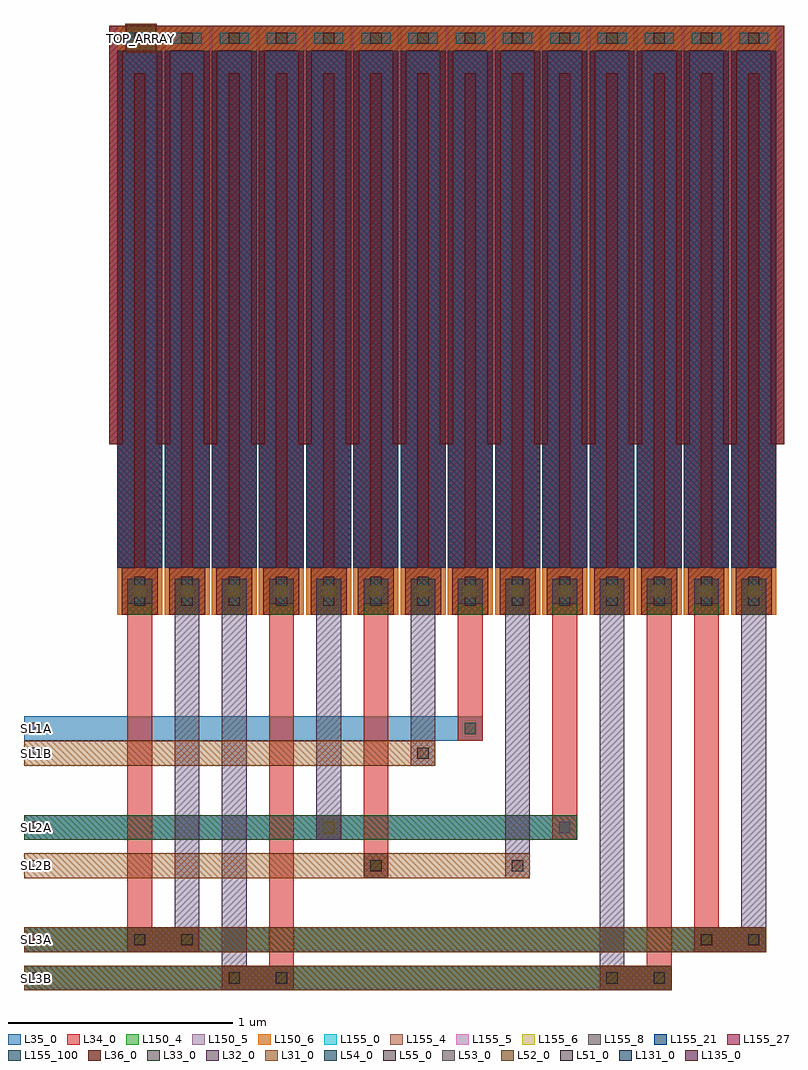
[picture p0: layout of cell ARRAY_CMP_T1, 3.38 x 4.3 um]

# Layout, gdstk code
from math import pi, radians
import gdstk
lib = gdstk.Library(unit=1e-6, precision=1e-09)
def R(c, l, rs):  # rectangles x0, y0, x1, y1
    for r in rs: c.add(gdstk.rectangle(r[:2], r[2:], *l))
def A(c, l, x, y, w, h, nx, ny, dx, dy):  # array of equal rectangles
    R(c, l, [(x+i*dx, y+j*dy, x+i*dx+w, y+j*dy+h) for i in range(nx) for j in range(ny)])
L31_0 = (31, 0)
L32_0 = (32, 0)
L33_0 = (33, 0)
L34_0 = (34, 0)
L35_0 = (35, 0)
L36_0 = (36, 0)
L51_0 = (51, 0)
L52_0 = (52, 0)
L53_0 = (53, 0)
L54_0 = (54, 0)
L55_0 = (55, 0)
L131_0 = (131, 0)
L135_0 = (135, 0)
L150_4 = (150, 4)
L150_5 = (150, 5)
L150_6 = (150, 6)
L155_0 = (155, 0)
L155_4 = (155, 4)
L155_5 = (155, 5)
L155_6 = (155, 6)
L155_8 = (155, 8)
L155_21 = (155, 21)
L155_27 = (155, 27)
L155_100 = (155, 100)

m5_m4_cdns_619496370347 = lib.new_cell('M5_M4_CDNS_619496370347')
R(m5_m4_cdns_619496370347, L34_0, [(-0.07,-0.105,0.07,0.105)])
R(m5_m4_cdns_619496370347, L35_0, [(-0.07,-0.105,0.07,0.105)])
R(m5_m4_cdns_619496370347, L54_0, [(-0.025,-0.065,0.025,0.065)])

m6_m5_cdns_619496370348 = lib.new_cell('M6_M5_CDNS_619496370348')
R(m6_m5_cdns_619496370348, L35_0, [(-0.07,-0.105,0.07,0.105)])
R(m6_m5_cdns_619496370348, L36_0, [(-0.055,-0.105,0.055,0.105)])
R(m6_m5_cdns_619496370348, L55_0, [(-0.025,-0.065,0.025,0.065)])

m5_m4_cdns_619496370349 = lib.new_cell('M5_M4_CDNS_619496370349')
R(m5_m4_cdns_619496370349, L34_0, [(-0.095,-0.055,0.095,0.055)])
R(m5_m4_cdns_619496370349, L35_0, [(-0.12,-0.055,0.12,0.055)])
R(m5_m4_cdns_619496370349, L54_0, [(-0.065,-0.025,0.065,0.025)])

m6_m5_cdns_6194963703410 = lib.new_cell('M6_M5_CDNS_6194963703410')
R(m6_m5_cdns_6194963703410, L35_0, [(-0.055,-0.055,0.055,0.055)])
R(m6_m5_cdns_6194963703410, L36_0, [(-0.055,-0.055,0.055,0.055)])
R(m6_m5_cdns_6194963703410, L55_0, [(-0.025,-0.025,0.025,0.025)])

cu1f = lib.new_cell('CU1F')
R(cu1f, L34_0, [(0.02,0,0.18,0.21), (-0.035,2.51,0.235,2.62)])
R(cu1f, L35_0, [(0.02,0,0.18,0.21), (-0.035,2.51,0.235,2.62)])
R(cu1f, L36_0, [(0.02,0,0.18,0.21), (-0.035,2.51,0.235,2.62)])
R(cu1f, L150_4, [(0,0,0.2,2.62)])
R(cu1f, L150_5, [(0,0,0.2,2.62)])
R(cu1f, L150_6, [(0,0,0.2,2.62)])
R(cu1f, L155_0, [(0,0.21,0.2,2.51)])
R(cu1f, L155_4, [(0,0.21,0.2,2.51)])
R(cu1f, L155_5, [(0,0.21,0.2,2.51)])
R(cu1f, L155_6, [(0,0.21,0.2,2.51)])
R(cu1f, L155_8, [(0,0.21,0.2,2.51)])
R(cu1f, L155_21, [(0,0.21,0.2,2.51)])
R(cu1f, L155_27, [(0,0.21,0.2,2.51)])
R(cu1f, L155_100, [(0,0.21,0.2,2.51)])
cu1f.add(gdstk.FlexPath([(0.205,2.59),(0.205,0.76)], 0.06, ends=(0.03, 0), simple_path=True, layer=34, datatype=0))  # L34_0
cu1f.add(gdstk.FlexPath([(0.1,2.41),(0.1,0)], 0.05, ends="flush", simple_path=True, layer=34, datatype=0))  # L34_0
cu1f.add(gdstk.FlexPath([(-0.005,2.59),(-0.005,0.76)], 0.06, ends=(0.03, 0), simple_path=True, layer=34, datatype=0))  # L34_0
cu1f.add(gdstk.FlexPath([(0.205,0.76),(0.205,2.59)], 0.06, ends=(0, 0.03), simple_path=True, layer=35, datatype=0))  # L35_0
cu1f.add(gdstk.FlexPath([(0.1,2.41),(0.1,0)], 0.05, ends="flush", simple_path=True, layer=35, datatype=0))  # L35_0
cu1f.add(gdstk.FlexPath([(-0.005,0.76),(-0.005,2.59)], 0.06, ends=(0, 0.03), simple_path=True, layer=35, datatype=0))  # L35_0
cu1f.add(gdstk.FlexPath([(0.205,0.76),(0.205,2.59)], 0.06, ends=(0, 0.03), simple_path=True, layer=36, datatype=0))  # L36_0
cu1f.add(gdstk.FlexPath([(0.1,2.41),(0.1,0)], 0.05, ends="flush", simple_path=True, layer=36, datatype=0))  # L36_0
cu1f.add(gdstk.FlexPath([(-0.005,0.76),(-0.005,2.59)], 0.06, ends=(0, 0.03), simple_path=True, layer=36, datatype=0))  # L36_0
cu1f.add(gdstk.Reference(m5_m4_cdns_619496370347, (0.1,0.105), rotation=pi, x_reflection=True))
cu1f.add(gdstk.Reference(m6_m5_cdns_619496370348, (0.1,0.105), rotation=pi, x_reflection=True))
cu1f.add(gdstk.Reference(m5_m4_cdns_619496370349, (0.1,2.565)))
cu1f.add(gdstk.Reference(m6_m5_cdns_6194963703410, (0.1,2.565)))

m2_m1_cdns_619496370340 = lib.new_cell('M2_M1_CDNS_619496370340')
R(m2_m1_cdns_619496370340, L31_0, [(-0.055,-0.055,0.055,0.055)])
R(m2_m1_cdns_619496370340, L32_0, [(-0.055,-0.055,0.055,0.055)])
R(m2_m1_cdns_619496370340, L51_0, [(-0.025,-0.025,0.025,0.025)])

m3_m2_cdns_619496370341 = lib.new_cell('M3_M2_CDNS_619496370341')
R(m3_m2_cdns_619496370341, L32_0, [(-0.055,-0.055,0.055,0.055)])
R(m3_m2_cdns_619496370341, L33_0, [(-0.055,-0.055,0.055,0.055)])
R(m3_m2_cdns_619496370341, L52_0, [(-0.025,-0.025,0.025,0.025)])

m4_m3_cdns_619496370342 = lib.new_cell('M4_M3_CDNS_619496370342')
R(m4_m3_cdns_619496370342, L33_0, [(-0.055,-0.055,0.055,0.055)])
R(m4_m3_cdns_619496370342, L34_0, [(-0.055,-0.055,0.055,0.055)])
R(m4_m3_cdns_619496370342, L53_0, [(-0.025,-0.025,0.025,0.025)])

m4_m3_cdns_619496370343 = lib.new_cell('M4_M3_CDNS_619496370343')
R(m4_m3_cdns_619496370343, L33_0, [(-0.07,-0.065,0.07,0.065)])
R(m4_m3_cdns_619496370343, L34_0, [(-0.055,-0.055,0.055,0.055)])
R(m4_m3_cdns_619496370343, L53_0, [(-0.025,-0.025,0.025,0.025)])

m3_m2_cdns_619496370344 = lib.new_cell('M3_M2_CDNS_619496370344')
R(m3_m2_cdns_619496370344, L32_0, [(-0.065,-0.06,0.065,0.06)])
R(m3_m2_cdns_619496370344, L33_0, [(-0.07,-0.065,0.07,0.065)])
R(m3_m2_cdns_619496370344, L52_0, [(-0.025,-0.025,0.025,0.025)])

m2_m1_cdns_619496370345 = lib.new_cell('M2_M1_CDNS_619496370345')
R(m2_m1_cdns_619496370345, L31_0, [(-0.055,-0.055,0.055,0.055)])
R(m2_m1_cdns_619496370345, L32_0, [(-0.065,-0.06,0.065,0.06)])
R(m2_m1_cdns_619496370345, L51_0, [(-0.025,-0.025,0.025,0.025)])

m5_m4_cdns_619496370346 = lib.new_cell('M5_M4_CDNS_619496370346')
R(m5_m4_cdns_619496370346, L34_0, [(-0.055,-0.055,0.055,0.055)])
R(m5_m4_cdns_619496370346, L35_0, [(-0.055,-0.055,0.055,0.055)])
R(m5_m4_cdns_619496370346, L54_0, [(-0.025,-0.025,0.025,0.025)])

array_cmp_t1 = lib.new_cell('ARRAY_CMP_T1')
R(array_cmp_t1, L31_0, [(-0.415,-1.67,2.465,-1.56), (-0.415,-1.5,2.885,-1.39), (-0.415,-1.17,1.835,-1.06), (-0.415,-0.67,1.415,-0.56), (0.035,2.5,0.175,2.63)])
R(array_cmp_t1, L32_0, [(0.465,-1.67,0.575,0.16), (0.465,-1.67,0.785,-1.56), (2.145,-1.67,2.255,0.16), (2.145,-1.67,2.465,-1.56), (0.045,-1.5,0.365,-1.39), (0.255,-1.5,0.365,0.16), (2.565,-1.5,2.885,-1.39), (2.775,-1.5,2.885,0.16), (1.725,-1.17,1.835,0.16), (0.885,-1,0.995,0.16), (1.305,-0.67,1.415,0.16)])
A(array_cmp_t1, L33_0, 0.045, 0, 0.11, 0.16, 14, 1, 0.21, 0)
R(array_cmp_t1, L33_0, [(-0.415,-1.67,2.465,-1.56), (-0.415,-1.5,2.885,-1.39), (-0.415,-1,2.045,-0.89)])
R(array_cmp_t1, L34_0, [(0.465,-1.67,0.785,-1.56), (0.675,-1.67,0.785,0.16), (2.145,-1.67,2.465,-1.56), (2.355,-1.67,2.465,0.16), (0.045,-1.5,0.155,0.16), (0.045,-1.5,0.365,-1.39), (2.565,-1.5,2.675,0.16), (2.565,-1.5,2.885,-1.39), (1.095,-1.17,1.205,0.16), (1.935,-1,2.045,0.16), (1.515,-0.56,1.625,0.16)])
R(array_cmp_t1, L35_0, [(-0.415,-1.67,2.465,-1.56), (-0.415,-1.5,2.885,-1.39), (-0.415,-1,2.045,-0.89), (-0.415,-0.56,1.625,-0.45)])
A(array_cmp_t1, L131_0, -0.385, -1.64, 0.05, 0.05, 1, 3, 0, 0.5)
R(array_cmp_t1, L131_0, [(0.08,2.54,0.13,2.59)])
R(array_cmp_t1, L135_0, [(-0.385,-1.47,-0.335,-1.42), (-0.385,-0.97,-0.335,-0.92), (-0.385,-0.53,-0.335,-0.48)])
array_cmp_t1.add(gdstk.Reference(cu1f, (2.73,0)))
array_cmp_t1.add(gdstk.Reference(cu1f, (2.52,0)))
array_cmp_t1.add(gdstk.Reference(cu1f, (2.31,0)))
array_cmp_t1.add(gdstk.Reference(cu1f, (2.1,0)))
array_cmp_t1.add(gdstk.Reference(cu1f, (1.89,0)))
array_cmp_t1.add(gdstk.Reference(cu1f, (1.68,0)))
array_cmp_t1.add(gdstk.Reference(cu1f, (1.47,0)))
array_cmp_t1.add(gdstk.Reference(cu1f, (1.26,0)))
array_cmp_t1.add(gdstk.Reference(cu1f, (1.05,0)))
array_cmp_t1.add(gdstk.Reference(cu1f, (0.84,0)))
array_cmp_t1.add(gdstk.Reference(cu1f, (0.63,0)))
array_cmp_t1.add(gdstk.Reference(cu1f, (0.42,0)))
array_cmp_t1.add(gdstk.Reference(cu1f, (0.21,0)))
array_cmp_t1.add(gdstk.Reference(cu1f, (0,0)))
array_cmp_t1.add(gdstk.Reference(m2_m1_cdns_619496370340, (2.83,-1.445)))
array_cmp_t1.add(gdstk.Reference(m2_m1_cdns_619496370340, (2.41,-1.615)))
array_cmp_t1.add(gdstk.Reference(m2_m1_cdns_619496370340, (0.73,-1.615)))
array_cmp_t1.add(gdstk.Reference(m2_m1_cdns_619496370340, (0.31,-1.445)))
array_cmp_t1.add(gdstk.Reference(m2_m1_cdns_619496370340, (0.1,-1.445)))
array_cmp_t1.add(gdstk.Reference(m2_m1_cdns_619496370340, (2.2,-1.615)))
array_cmp_t1.add(gdstk.Reference(m2_m1_cdns_619496370340, (0.52,-1.615)))
array_cmp_t1.add(gdstk.Reference(m2_m1_cdns_619496370340, (1.36,-0.615)))
array_cmp_t1.add(gdstk.Reference(m2_m1_cdns_619496370340, (1.15,-1.115)))
array_cmp_t1.add(gdstk.Reference(m2_m1_cdns_619496370340, (1.78,-1.115)))
array_cmp_t1.add(gdstk.Reference(m2_m1_cdns_619496370340, (2.62,-1.445)))
array_cmp_t1.add(gdstk.Reference(m3_m2_cdns_619496370341, (0.94,-0.945)))
array_cmp_t1.add(gdstk.Reference(m3_m2_cdns_619496370341, (2.83,-1.445)))
array_cmp_t1.add(gdstk.Reference(m3_m2_cdns_619496370341, (0.73,-1.615)))
array_cmp_t1.add(gdstk.Reference(m3_m2_cdns_619496370341, (0.31,-1.445)))
array_cmp_t1.add(gdstk.Reference(m3_m2_cdns_619496370341, (0.1,-1.445)))
array_cmp_t1.add(gdstk.Reference(m3_m2_cdns_619496370341, (2.41,-1.615)))
array_cmp_t1.add(gdstk.Reference(m3_m2_cdns_619496370341, (2.2,-1.615)))
array_cmp_t1.add(gdstk.Reference(m3_m2_cdns_619496370341, (0.1,0.105)))
array_cmp_t1.add(gdstk.Reference(m3_m2_cdns_619496370341, (0.31,0.105)))
array_cmp_t1.add(gdstk.Reference(m3_m2_cdns_619496370341, (0.52,0.105)))
array_cmp_t1.add(gdstk.Reference(m3_m2_cdns_619496370341, (0.73,0.105)))
array_cmp_t1.add(gdstk.Reference(m3_m2_cdns_619496370341, (0.94,0.105)))
array_cmp_t1.add(gdstk.Reference(m3_m2_cdns_619496370341, (1.15,0.105)))
array_cmp_t1.add(gdstk.Reference(m3_m2_cdns_619496370341, (1.36,0.105)))
array_cmp_t1.add(gdstk.Reference(m3_m2_cdns_619496370341, (1.57,0.105)))
array_cmp_t1.add(gdstk.Reference(m3_m2_cdns_619496370341, (1.78,0.105)))
array_cmp_t1.add(gdstk.Reference(m3_m2_cdns_619496370341, (1.99,0.105)))
array_cmp_t1.add(gdstk.Reference(m3_m2_cdns_619496370341, (2.2,0.105)))
array_cmp_t1.add(gdstk.Reference(m3_m2_cdns_619496370341, (2.41,0.105)))
array_cmp_t1.add(gdstk.Reference(m3_m2_cdns_619496370341, (2.62,0.105)))
array_cmp_t1.add(gdstk.Reference(m3_m2_cdns_619496370341, (2.83,0.105)))
array_cmp_t1.add(gdstk.Reference(m3_m2_cdns_619496370341, (0.52,-1.615)))
array_cmp_t1.add(gdstk.Reference(m3_m2_cdns_619496370341, (1.15,-1.115)))
array_cmp_t1.add(gdstk.Reference(m3_m2_cdns_619496370341, (2.62,-1.445)))
array_cmp_t1.add(gdstk.Reference(m4_m3_cdns_619496370342, (2.83,-1.445)))
array_cmp_t1.add(gdstk.Reference(m4_m3_cdns_619496370342, (2.41,-1.615)))
array_cmp_t1.add(gdstk.Reference(m4_m3_cdns_619496370342, (0.73,-1.615)))
array_cmp_t1.add(gdstk.Reference(m4_m3_cdns_619496370342, (0.31,-1.445)))
array_cmp_t1.add(gdstk.Reference(m4_m3_cdns_619496370342, (0.1,-1.445)))
array_cmp_t1.add(gdstk.Reference(m4_m3_cdns_619496370342, (2.2,-1.615)))
array_cmp_t1.add(gdstk.Reference(m4_m3_cdns_619496370342, (0.1,0.105)))
array_cmp_t1.add(gdstk.Reference(m4_m3_cdns_619496370342, (0.31,0.105)))
array_cmp_t1.add(gdstk.Reference(m4_m3_cdns_619496370342, (0.52,0.105)))
array_cmp_t1.add(gdstk.Reference(m4_m3_cdns_619496370342, (0.73,0.105)))
array_cmp_t1.add(gdstk.Reference(m4_m3_cdns_619496370342, (0.94,0.105)))
array_cmp_t1.add(gdstk.Reference(m4_m3_cdns_619496370342, (1.15,0.105)))
array_cmp_t1.add(gdstk.Reference(m4_m3_cdns_619496370342, (1.36,0.105)))
array_cmp_t1.add(gdstk.Reference(m4_m3_cdns_619496370342, (1.57,0.105)))
array_cmp_t1.add(gdstk.Reference(m4_m3_cdns_619496370342, (1.78,0.105)))
array_cmp_t1.add(gdstk.Reference(m4_m3_cdns_619496370342, (1.99,0.105)))
array_cmp_t1.add(gdstk.Reference(m4_m3_cdns_619496370342, (2.2,0.105)))
array_cmp_t1.add(gdstk.Reference(m4_m3_cdns_619496370342, (2.41,0.105)))
array_cmp_t1.add(gdstk.Reference(m4_m3_cdns_619496370342, (2.62,0.105)))
array_cmp_t1.add(gdstk.Reference(m4_m3_cdns_619496370342, (2.83,0.105)))
array_cmp_t1.add(gdstk.Reference(m4_m3_cdns_619496370342, (0.52,-1.615)))
array_cmp_t1.add(gdstk.Reference(m4_m3_cdns_619496370342, (2.62,-1.445)))
array_cmp_t1.add(gdstk.Reference(m4_m3_cdns_619496370342, (0.94,-0.945)))
array_cmp_t1.add(gdstk.Reference(m4_m3_cdns_619496370342, (1.99,-0.945)))
array_cmp_t1.add(gdstk.Reference(m4_m3_cdns_619496370342, (1.15,-1.115)))
array_cmp_t1.add(gdstk.Reference(m4_m3_cdns_619496370343, (0.105,2.565)))
array_cmp_t1.add(gdstk.Reference(m3_m2_cdns_619496370344, (0.105,2.565)))
array_cmp_t1.add(gdstk.Reference(m2_m1_cdns_619496370345, (0.105,2.565)))
array_cmp_t1.add(gdstk.Reference(m5_m4_cdns_619496370346, (2.83,-1.445)))
array_cmp_t1.add(gdstk.Reference(m5_m4_cdns_619496370346, (0.94,-0.945)))
array_cmp_t1.add(gdstk.Reference(m5_m4_cdns_619496370346, (1.99,-0.945)))
array_cmp_t1.add(gdstk.Reference(m5_m4_cdns_619496370346, (1.57,-0.505)))
array_cmp_t1.add(gdstk.Reference(m5_m4_cdns_619496370346, (2.62,-1.445)))
array_cmp_t1.add(gdstk.Reference(m5_m4_cdns_619496370346, (0.52,-1.615)))
array_cmp_t1.add(gdstk.Reference(m5_m4_cdns_619496370346, (0.73,-1.615)))
array_cmp_t1.add(gdstk.Reference(m5_m4_cdns_619496370346, (0.31,-1.445)))
array_cmp_t1.add(gdstk.Reference(m5_m4_cdns_619496370346, (2.41,-1.615)))
array_cmp_t1.add(gdstk.Reference(m5_m4_cdns_619496370346, (2.2,-1.615)))
array_cmp_t1.add(gdstk.Reference(m5_m4_cdns_619496370346, (0.1,-1.445)))
array_cmp_t1.add(gdstk.Label('SL3A', (-0.36,-1.445), layer=135, texttype=0))
array_cmp_t1.add(gdstk.Label('SL2A', (-0.36,-0.945), layer=135, texttype=0))
array_cmp_t1.add(gdstk.Label('SL1A', (-0.36,-0.505), layer=135, texttype=0))
array_cmp_t1.add(gdstk.Label('SL1B', (-0.36,-0.615), layer=131, texttype=0))
array_cmp_t1.add(gdstk.Label('SL2B', (-0.36,-1.115), layer=131, texttype=0))
array_cmp_t1.add(gdstk.Label('TOP_ARRAY', (0.103,2.565), layer=131, texttype=0))
array_cmp_t1.add(gdstk.Label('SL3B', (-0.36,-1.615), layer=131, texttype=0))

lib.write_gds('ARRAY_CMP_T1.gds')
